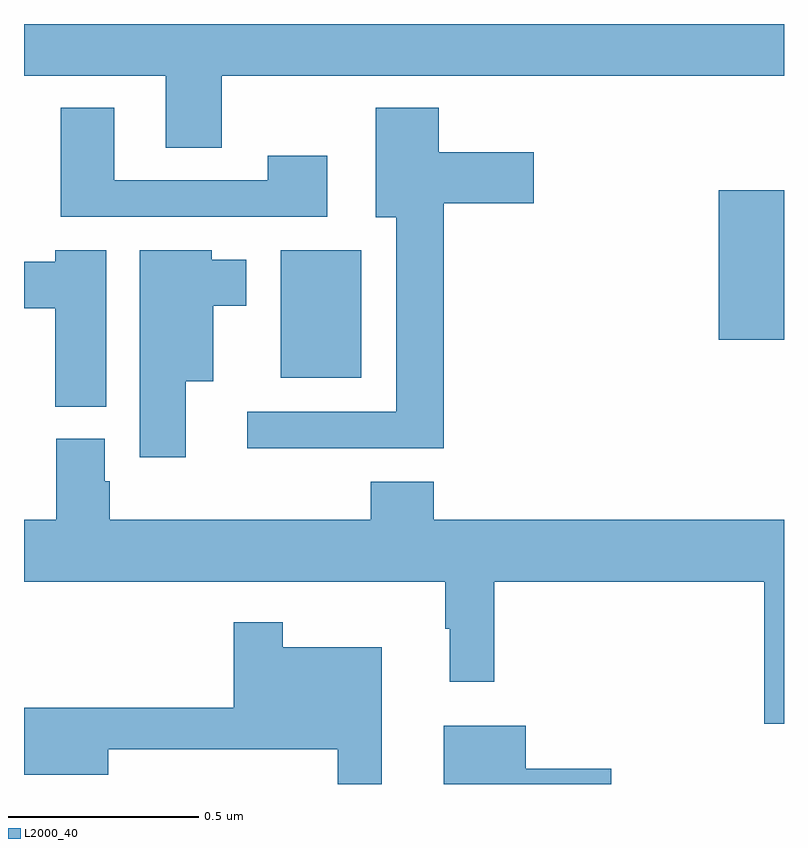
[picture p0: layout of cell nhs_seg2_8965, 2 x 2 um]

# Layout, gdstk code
import gdstk
lib = gdstk.Library(unit=1e-6, precision=1e-09)
def R(c, l, rs):  # rectangles x0, y0, x1, y1
    for r in rs: c.add(gdstk.rectangle(r[:2], r[2:], *l))
def P(c, l, *ps):  # polygons
    for p in ps: c.add(gdstk.Polygon(p, *l))
L2000_40 = (2000, 40)

nhs_seg2_8965 = lib.new_cell('nhs_seg2_8965')
R(nhs_seg2_8965, L2000_40, [(223.676,618.869,223.888,619.204), (224.828,618.969,225,619.363)])
P(nhs_seg2_8965, L2000_40, [(223.521,619.664),(225,619.664),(225,619.8),(223,619.8),(223,619.664),(223.373,619.664),(223.373,619.474),(223.521,619.474)],
  [(224.105,619.328),(224.341,619.328),(224.341,619.462),(224.092,619.462),(224.092,619.579),(223.925,619.579),(223.925,619.292),(223.979,619.292),(223.979,618.78),(223.587,618.78),(223.587,618.683),(224.105,618.683)],
  [(223.798,619.453),(223.642,619.453),(223.642,619.389),(223.237,619.389),(223.237,619.579),(223.097,619.579),(223.097,619.293),(223.798,619.293)],
  [(223.216,619.204),(223.082,619.204),(223.082,619.174),(223,619.174),(223,619.052),(223.082,619.052),(223.082,618.793),(223.216,618.793)],
  [(223.426,618.86),(223.498,618.86),(223.498,619.058),(223.585,619.058),(223.585,619.18),(223.494,619.18),(223.494,619.204),(223.304,619.204),(223.304,618.66),(223.426,618.66)],
  [(225,618.496),(224.078,618.496),(224.078,618.595),(223.913,618.595),(223.913,618.496),(223.226,618.496),(223.226,618.597),(223.213,618.597),(223.213,618.708),(223.085,618.708),(223.085,618.496),(223,618.496),(223,618.332),(224.109,618.332),(224.109,618.209),(224.12,618.209),(224.12,618.069),(224.237,618.069),(224.237,618.332),(224.948,618.332),(224.948,617.958),(225,617.958)],
  [(223.942,618.16),(223.681,618.16),(223.681,618.226),(223.552,618.226),(223.552,618.001),(223,618.001),(223,617.825),(223.222,617.825),(223.222,617.891),(223.825,617.891),(223.825,617.8),(223.942,617.8)],
  [(224.545,617.84),(224.32,617.84),(224.32,617.953),(224.105,617.953),(224.105,617.8),(224.545,617.8)])

lib.write_gds('nhs_seg2_8965.gds')
